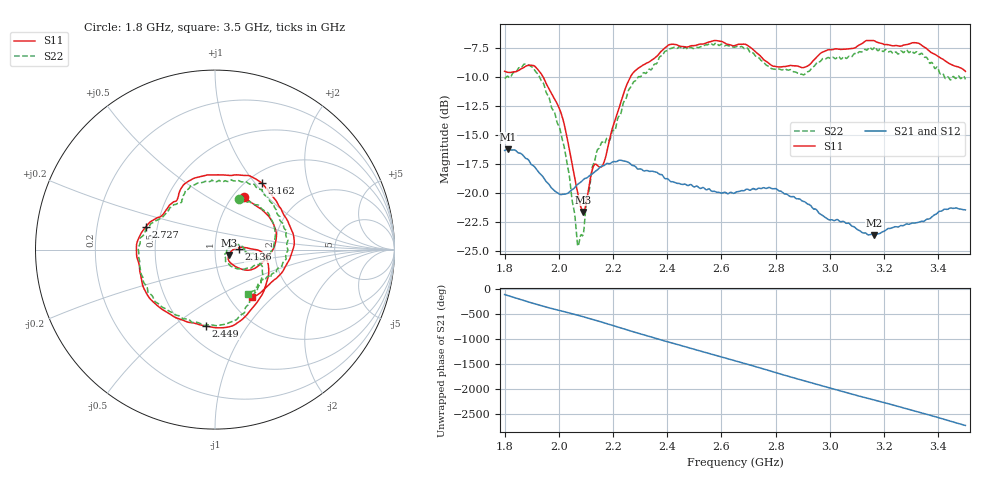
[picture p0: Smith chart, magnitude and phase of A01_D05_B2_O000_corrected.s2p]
! Created with skrf 1.9.0 (http://scikit-rf.org).
# Hz S RI R 50.0
!freq ReS11 ImS11 ReS21 ImS21 ReS12 ImS12 ReS22 ImS22
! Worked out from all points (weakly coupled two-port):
!   1601 points, 1.8 GHz to 3.5 GHz, reference 50 ohm
!   highest |S21| = -16.26 dB at 1.812 GHz (marker M1); lowest = -23.7 dB at 3.164 GHz (marker M2)
!   lowest |S11| = -21.7 dB at 2.09 GHz (marker M3), VSWR 1.18, Z = 58.2 - j3.58 ohm
!   |S11| at or under -10 dB: 1.942 GHz to 2.264 GHz (322 MHz wide, 15.3 % of centre)
!   |S22| runs from -24.6 to -7.1 dB; largest |S21 - S12| = 0.0029
!   S11 on the Smith chart (normalised r, x): 1.8 GHz: 1.13, +0.74; 2.136 GHz: 1.31, +0.01; 2.449 GHz: 0.64, -0.67; 2.727 GHz: 0.43, +0.13; 3.162 GHz: 1.16, +1.08; 3.5 GHz: 1.27, -0.75
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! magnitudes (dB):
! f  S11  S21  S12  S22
! 1.8 GHz  -9.5  -16.3  -16.4  -10.1
! 1.812 GHz  -9.6  -16.3  -16.3  -9.9
! 1.881 GHz  -9.0  -17.1  -17.1  -9.0
! 1.942 GHz  -10.0  -18.7  -18.6  -10.5
! 2.013 GHz  -13.4  -20.1  -20.2  -15.4
! 2.068 GHz  -19.8  -19.3  -19.3  -24.3
! 2.084 GHz  -21.4  -19.0  -19.0  -23.6
! 2.09 GHz  -21.7  -18.9  -18.9  -23.6
! 2.136 GHz  -17.5  -18.1  -18.1  -16.9
! 2.166 GHz  -17.4  -17.7  -17.6  -15.7
! 2.265 GHz  -10.0  -17.5  -17.5  -10.9
! 2.367 GHz  -8.1  -18.3  -18.3  -8.5
! 2.449 GHz  -7.4  -19.2  -19.3  -7.4
! 2.65 GHz  -7.3  -20.0  -20.0  -7.4
! 2.727 GHz  -7.8  -19.7  -19.7  -8.2
! 2.799 GHz  -9.1  -19.6  -19.6  -9.3
! 2.934 GHz  -8.7  -21.2  -21.2  -9.2
! 3.162 GHz  -6.9  -23.7  -23.6  -7.5
! 3.164 GHz  -6.9  -23.7  -23.6  -7.4
! 3.217 GHz  -7.2  -23.1  -23.1  -7.8
! 3.326 GHz  -7.1  -22.6  -22.5  -8.0
! 3.5 GHz  -9.5  -21.5  -21.5  -10.2
